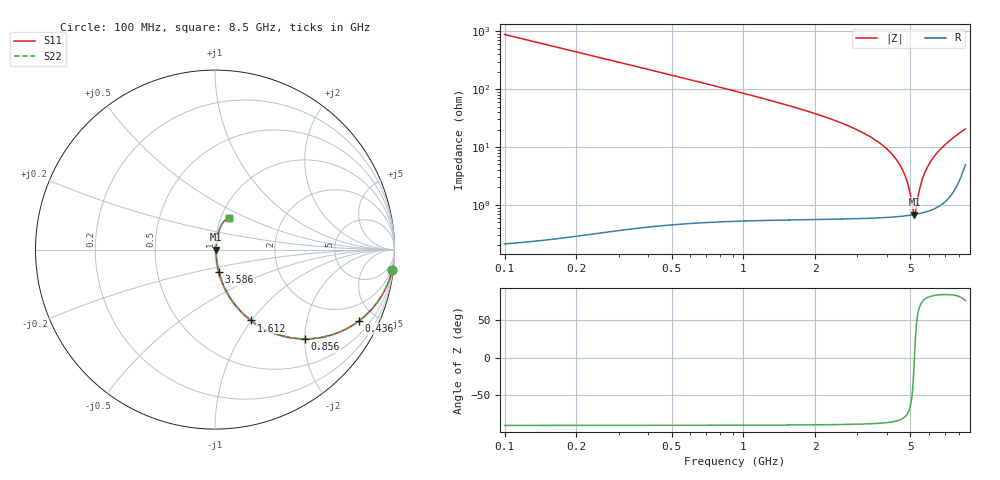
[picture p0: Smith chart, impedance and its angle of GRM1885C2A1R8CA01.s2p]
!Murata Part Number: GRM1885C2A1R8CA01
!These Parameters are Measured in Series Mode Connection
!Data Generated on Mar 30, 2021
!  o--ll--o
!Port1  Port2
!  o------o
!Operation Temp=25[degC], DC Bias Voltage=0[V]
!Freq. Start=100[MHz] Stop=9[GHz] 401[Steps]
# Hz S RI R 50
!Freq.(Hz) S11(Real) S11(Imag) S21(Real) S21(Imag) S12(Real) S12(Imag) S22(Real) S22(Imag)
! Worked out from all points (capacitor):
!   401 points, 100 MHz to 8.5 GHz, reference 50 ohm
!   read as one part in series: C = 1.8 pF near 142 MHz
!   lowest |Z| = 682 mohm at 5.203 GHz (marker M1)
!   series resonance near 5.2 GHz, so ESL is about 520 pH
!   S11 on the Smith chart (normalised r, x): 100 MHz: 1, -18; 436 MHz: 1.01, -4.02; 856 MHz: 1.01, -2.01; 1.612 GHz: 1.01, -0.99; 3.586 GHz: 1.01, -0.26; 8.5 GHz: 1.10, +0.40
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1e8  0.9873 -0.1117  0.0127 0.1117  0.0127 0.1117  0.9873 -0.1117
2.47e8  0.927 -0.2596  0.073 0.2596  0.073 0.2596  0.927 -0.2596
4.36e8  0.8014 -0.3979  0.1986 0.3979  0.1986 0.3979  0.8014 -0.3979
6.25e8  0.6594 -0.4722  0.3406 0.4722  0.3406 0.4722  0.6594 -0.4722
8.56e8  0.5021 -0.4974  0.4979 0.4974  0.4979 0.4974  0.5021 -0.4974
1.507e9  0.2266 -0.4136  0.7734 0.4136  0.7734 0.4136  0.2266 -0.4136
1.612e9  0.2002 -0.3946  0.7998 0.3946  0.7998 0.3946  0.2002 -0.3946
2.179e9  0.1051 -0.2984  0.8949 0.2984  0.8949 0.2984  0.1051 -0.2984
2.914e9  0.047 -0.1983  0.953 0.1983  0.953 0.1983  0.047 -0.1983
3.586e9  0.0224 -0.1268  0.9776 0.1268  0.9776 0.1268  0.0224 -0.1268
4.3e9  0.0104 -0.0649  0.9896 0.0649  0.9896 0.0649  0.0104 -0.0649
4.594e9  0.00814 -0.0424  0.9919 0.0424  0.9919 0.0424  0.00814 -0.0424
4.804e9  0.0072 -0.0272  0.9928 0.0272  0.9928 0.0272  0.0072 -0.0272
4.972e9  0.00682 -0.0154  0.9932 0.0154  0.9932 0.0154  0.00682 -0.0154
5.14e9  0.00673 -0.00402  0.9933 0.00402  0.9933 0.00402  0.00673 -0.00402
5.203e9  0.00677 0.00017  0.9932 -0.00017  0.9932 -0.00017  0.00677 0.00017
5.266e9  0.00685 0.00432  0.9931 -0.00432  0.9931 -0.00432  0.00685 0.00432
5.476e9  0.00738 0.0178  0.9926 -0.0178  0.9926 -0.0178  0.00738 0.0178
5.707e9  0.00841 0.0322  0.9916 -0.0322  0.9916 -0.0322  0.00841 0.0322
6.253e9  0.0126 0.0646  0.9874 -0.0646  0.9874 -0.0646  0.0126 0.0646
7.114e9  0.025 0.1125  0.975 -0.1125  0.975 -0.1125  0.025 0.1125
8.5e9  0.0804 0.1744  0.9196 -0.1744  0.9196 -0.1744  0.0804 0.1744
